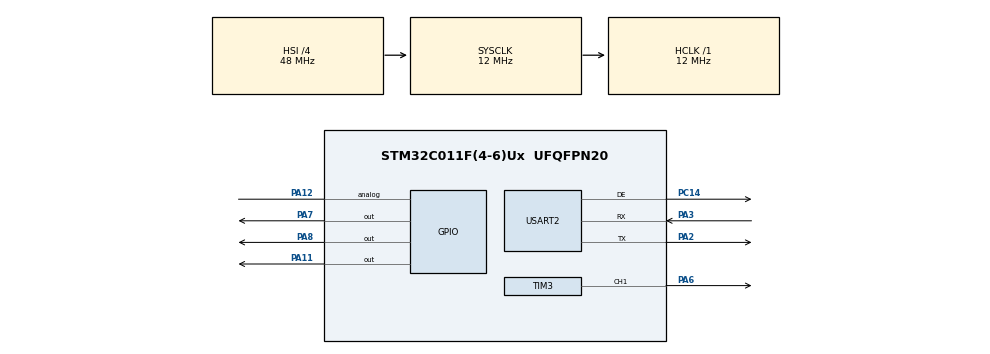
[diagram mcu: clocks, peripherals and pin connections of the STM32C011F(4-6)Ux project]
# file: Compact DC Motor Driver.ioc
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Mcu.Family=STM32C0
Mcu.Name=STM32C011F(4-6)Ux
Mcu.Package=UFQFPN20
NVIC.USART2_IRQn=true\:0\:0\:false\:false\:true\:true\:true\:true
PA11\ [PA9].Signal=GPIO_Output
PA12\ [PA10].Signal=GPIO_Analog
PA13.Mode=Serial_Wire
PA13.Signal=DEBUG_SWDIO
PA14-BOOT0.Mode=Serial_Wire
PA14-BOOT0.Signal=DEBUG_SWCLK
PA2.Mode=Asynchronous
PA2.Signal=USART2_TX
PA3.Mode=Asynchronous
PA3.Signal=USART2_RX
PA6.Signal=S_TIM3_CH1
PA7.GPIO_PuPd=GPIO_NOPULL
PA7.GPIO_Speed=GPIO_SPEED_FREQ_VERY_HIGH
PA7.PinState=GPIO_PIN_RESET
PA7.Signal=GPIO_Output
PA8.Signal=GPIO_Output
PC14-OSCX_IN\ (PC14).Mode=Hardware Flow Control (RS485)
PC14-OSCX_IN\ (PC14).Signal=USART2_DE
ProjectManager.HeapSize=0x200
ProjectManager.StackSize=0x400
ProjectManager.TargetToolchain=STM32CubeIDE
RCC.ADCFreq_Value=12000000
RCC.AHBFreq_Value=12000000
RCC.CortexFreq_Value=12000000
RCC.EXTERNAL_CLOCK_VALUE=12288000
RCC.HCLKFreq_Value=12000000
RCC.HSE_VALUE=8000000
RCC.HSI_VALUE=48000000
RCC.LSE_VALUE=32768
RCC.SYSCLKFreq_VALUE=12000000
SH.S_TIM3_CH1.0=TIM3_CH1,PWM Generation1 CH1
TIM3.AutoReloadPreload=TIM_AUTORELOAD_PRELOAD_ENABLE
TIM3.Channel-PWM\ Generation1\ CH1=TIM_CHANNEL_1
TIM3.Period=999
TIM3.Prescaler=79
USART2.VirtualMode-Asynchronous=VM_ASYNC
USART2.VirtualMode-Hardware\ Flow\ Control\ (RS485)=VM_ASYNC
VP_TIM3_VS_ClockSourceINT.Mode=Internal
board=custom

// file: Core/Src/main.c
/* USER CODE BEGIN Header */
/**
  ******************************************************************************
  * @file           : main.c
  * @brief          : Main program body
  ******************************************************************************
  * @attention
  *
  * Copyright (c) 2025 STMicroelectronics.
  * All rights reserved.
  *
  * This software is licensed under terms that can be found in the LICENSE file
  * in the root directory of this software component.
  * If no LICENSE file comes with this software, it is provided AS-IS.
  *
  ******************************************************************************
  */
/* USER CODE END Header */
#include "main.h"

/* USER CODE BEGIN Includes */
#include <stdio.h>
#include <stdlib.h>
/* USER CODE END Includes */

TIM_HandleTypeDef htim3;

UART_HandleTypeDef huart2;

/* USER CODE BEGIN PV */

#define FLASH_PERSIST_ADDR 0x08003C00  // Example: last 1 KB of 16 KB flash

typedef struct {
    uint32_t magic;      // optional, used to check if flash is initialized
    uint16_t address;
    uint16_t angleOpen;
    uint16_t angleClose;
    uint16_t Kp;
    uint16_t Kd;
    uint16_t errorTol;
    uint16_t errorTolChange;
    uint16_t extraVal;

} PersistentConfig;

#define MAGIC_VALUE 0xDEADBEEF

PersistentConfig config = {
    .magic = MAGIC_VALUE,
    .address = 99,
    .angleOpen = 1024,
    .angleClose = 2048,
    .Kp = 3,
    .Kd = 1000,
    .errorTol = 5,
    .errorTolChange = 1
};

#define IS_DIGIT(c) ((c) >= '0' && (c) <= '9')

//#define DEVICE_ADDRESS 12 // Between 12 - 23, 0-11 are reserved for on ECU servo connections

#define RX_BUFFER_SIZE 16
uint8_t rx_byte;
volatile uint8_t rx_buffer[RX_BUFFER_SIZE];
volatile uint8_t rx_buffer_index = 0;
volatile uint8_t command_buffer[RX_BUFFER_SIZE];
volatile uint8_t command_int = 0;

uint32_t last_toggle_time = 0;
char uart_buf[32];

volatile uint16_t targetAngle = 1000;
volatile int16_t target_hit = 1;

#define SCALE_PD 1000
//#define Kp (4 * SCALE_PD)
//#define Kd (500 * SCALE_PD)

int32_t rolling_delta_error = 0;
int8_t alpha = 80;
//#define Ki (0)

volatile uint8_t enabled = 1; // 1 = enabled, 0 = disabled, no power will be given to the motor

volatile uint8_t debug = 0; // 0 = normal, 1 = debug mode

uint32_t last_move_command = 0;
uint32_t ramp_up_time = 100;
uint16_t init_speed = 400;

/* USER CODE END PV */

void SystemClock_Config(void);
static void MX_GPIO_Init(void);
static void MX_TIM3_Init(void);
static void MX_USART2_UART_Init(void);

/* USER CODE BEGIN 0 */

// Called on each byte received
void HAL_UART_RxCpltCallback(UART_HandleTypeDef *huart)
{
//	HAL_GPIO_WritePin(GPIOA, GPIO_PIN_8, GPIO_PIN_SET);
//			HAL_UART_Transmit(&huart2, &rx_byte, 1, HAL_MAX_DELAY);
	//Running the code on USART1 only, (the raw uart line coming in), will need more logic when coming over RS485 bus
	if(huart->Instance == USART2){

		char c = (char)rx_byte;
//		if(c == '1'){
//			targetAngle = 3000;
//			target_hit = 0;
//		} else if (c == '0'){
//			targetAngle = 1000;
//			target_hit = 0;
//		}
//		HAL_GPIO_WritePin(GPIOA, GPIO_PIN_8, GPIO_PIN_SET);
//		HAL_UART_Transmit(&huart2, &rx_byte, 1, HAL_MAX_DELAY);
		if(c == '{'){
			rx_buffer_index = 1;
			rx_buffer[0] = rx_byte;
		} else if (c == '}'){
			//End of command, copy to command_buffer
			rx_buffer[rx_buffer_index] = rx_byte;

			for(int i = 0; i < RX_BUFFER_SIZE; i++){
				if(i <= rx_buffer_index){
					command_buffer[i] = rx_buffer[i];
				} else {
					command_buffer[i] = 0;
				}
			}

			if ((char)command_buffer[1] != '}' && (char)command_buffer[0] == '{' && (char)command_buffer[3] == ',') {
			    command_int = (command_buffer[4] - '0') * 10 + (command_buffer[5] - '0'); // now supports 2-digit commands
			} else {
			    command_int = 0;
			}

			rx_buffer_index = 0;
		} else {
			rx_buffer[rx_buffer_index] = rx_byte;
			rx_buffer_index++;

			// Start re-writing the buffer if we over-flow, note that this will fail to generate a
			// command_int due to the missing { at the start of the command
			if(rx_buffer_index >= RX_BUFFER_SIZE){
				rx_buffer_index = 0;
			}
		}

		// Restarting the interupt loop
		HAL_UART_Receive_IT(&huart2, &rx_byte, 1);
	}

}

// Minimal ADC1 initialization for STM32C0 series
void adc_init(void)
{
    RCC->APBENR2 |= RCC_APBENR2_ADCEN;  // enable ADC clock
    ADC1->CR &= ~ADC_CR_ADEN;           // ensure ADC is off
    ADC1->CFGR1 = 0;                    // single conversion, right-aligned
    ADC1->CHSELR = 0;                   // no channel selected yet
    ADC1->CR |= ADC_CR_ADEN;            // enable ADC
}

// --- Read ADC channel without HAL ADC_ConfigChannel overhead ---
uint16_t read_adc_channel(uint32_t channel)
{
    ADC1->CHSELR = 1U << channel;       // select PA12 = channel 4
    ADC1->CR |= ADC_CR_ADSTART;          // start conversion
    while (!(ADC1->ISR & ADC_ISR_EOC)); // wait for conversion complete
    return ADC1->DR;                     // read result
}

uint8_t parse_two_digit_decimal(char high, char low) {
    if (high < '0' || high > '9' || low < '0' || low > '9')
        return 0; // invalid

    return (high - '0') * 10 + (low - '0');
}

HAL_StatusTypeDef save_persistent_data(void) {
    HAL_StatusTypeDef status;
    FLASH_EraseInitTypeDef EraseInitStruct;
    uint32_t PageError = 0;

    HAL_FLASH_Unlock();

    // Configure erase for STM32C0 (2 KB pages)
    EraseInitStruct.TypeErase = FLASH_TYPEERASE_PAGES;
    EraseInitStruct.Page = (FLASH_PERSIST_ADDR - FLASH_BASE) / FLASH_PAGE_SIZE;
    EraseInitStruct.NbPages = 1;

    status = HAL_FLASHEx_Erase(&EraseInitStruct, &PageError);
    if (status != HAL_OK) {
        HAL_FLASH_Lock();
        return status;
    }

    // Write as 64-bit (double word)
    uint64_t *data_ptr = (uint64_t *)&config;
    uint32_t addr = FLASH_PERSIST_ADDR;
    uint32_t doublewords = (sizeof(PersistentConfig) + 7) / 8; // round up

    for (uint32_t i = 0; i < doublewords; i++) {
        status = HAL_FLASH_Program(FLASH_TYPEPROGRAM_DOUBLEWORD, addr, data_ptr[i]);
        if (status != HAL_OK) {
            HAL_FLASH_Lock();
            return status;
        }
        addr += 8; // must increment by 8 for double word
    }

    HAL_FLASH_Lock();
    return HAL_OK;
}

void load_persistent_data(void) {
    PersistentConfig *flash_data = (PersistentConfig *)FLASH_PERSIST_ADDR;

    if (flash_data->magic == MAGIC_VALUE) {
        // Flash has valid data
        memcpy(&config, flash_data, sizeof(PersistentConfig));
    } else {
        // First time boot or flash erased -> initialize defaults
    	config.magic = MAGIC_VALUE;
    	config.address = 99;
    	config.angleOpen = 1024;
    	config.angleClose = 2048;
    	config.Kp = 3;
    	config.Kd = 1000;
    	config.errorTol = 5;
    	config.errorTolChange = 1;

        // Save to flash so next boot reads these values
        save_persistent_data();
    }
}

int parse_4digit_value(uint8_t *buf, uint16_t *out) {
    for (int i = 0; i < 4; i++) {
        if (buf[i] < '0' || buf[i] > '9') {
            return 0; // invalid
        }
    }
    *out = (buf[0]-'0')*1000 + (buf[1]-'0')*100 + (buf[2]-'0')*10 + (buf[3]-'0');
    return 1; // success
}

// Updates a config value and only saves to flash if changed
HAL_StatusTypeDef update_config_if_changed(uint16_t *field, uint16_t new_value) {
    if (*field != new_value) {
        *field = new_value;
        return save_persistent_data();
    }
    return HAL_OK; // no change, no flash write
}

uint8_t validate_command(uint8_t *buf, uint8_t command_int) {
    // Ensure start '{' and minimal length
    if(buf[0] != '{') return 0;

    // Validate address: 2 digits
    if(!IS_DIGIT(buf[1]) || !IS_DIGIT(buf[2])) return 0;

    uint8_t addr = parse_two_digit_decimal(buf[1], buf[2]);
    if(addr != config.address) return 0; // Not for this device

    // For commands 21-28, ensure 4-digit value exists
    if(command_int >= 21 && command_int <= 28) {
        for(int i=7; i<=10; i++) {
            if(!IS_DIGIT(buf[i])) return 0;
        }
    }

    return 1; // valid
}

/* USER CODE END 0 */

int main(void)
{

  /* MCU Configuration--------------------------------------------------------*/

  /* Reset of all peripherals, Initializes the Flash interface and the Systick. */
  HAL_Init();

  /* Configure the system clock */
  SystemClock_Config();

  /* Initialize all configured peripherals */
  MX_GPIO_Init();
  MX_TIM3_Init();
  MX_USART2_UART_Init();
  /* USER CODE BEGIN 2 */

  load_persistent_data();

  adc_init();

  // Start UART reception in interrupt mode (1 byte at a time)
  // This gets restarted in the interup function
  HAL_UART_Receive_IT(&huart2, &rx_byte, 1);

  HAL_GPIO_WritePin(GPIOA, GPIO_PIN_6, GPIO_PIN_RESET);
  HAL_GPIO_WritePin(GPIOA, GPIO_PIN_7, GPIO_PIN_RESET);

  uint32_t last_print = 0;
  //uint16_t last_dir_change = 0;
  int16_t last_error = 0;
//  int32_t error_integral = 0;

  HAL_TIM_PWM_Start(&htim3, TIM_CHANNEL_1);

  __HAL_TIM_SET_COMPARE(&htim3, TIM_CHANNEL_1, 999);

//  HAL_TIM_PWM_Start(&htim3, TIM_CHANNEL_1);
//  __HAL_TIM_SET_COMPARE(&htim3, TIM_CHANNEL_1, 500);

  /* USER CODE END 2 */

  /* Infinite loop */
  /* USER CODE BEGIN WHILE */
  HAL_GPIO_WritePin(GPIOA, GPIO_PIN_8, GPIO_PIN_RESET);
  while (1) {

	  // Reading the pot value, outputs 0-4096 mapping 0-3.3v, there is slight deadband between 0-150 ish
	  	      uint16_t adc_value = read_adc_channel(12);

	  	  if(command_int != 0){
    uint8_t valid = validate_command(command_buffer, command_int);

    if(!valid){
        //HAL_UART_Transmit(&huart2, (uint8_t*)"BAD_CMD\r\n", 9, HAL_MAX_DELAY);
        command_int = 0;
        continue;
    }

    uint16_t command_value = 0;
    if(command_int >= 21 && command_int <= 28){
        command_value = (command_buffer[7]-'0')*1000 +
                        (command_buffer[8]-'0')*100 +
                        (command_buffer[9]-'0')*10 +
                        (command_buffer[10]-'0');
    }

    switch(command_int){
        case 1: targetAngle = config.angleOpen; target_hit = 0; last_move_command = HAL_GetTick(); break;
        case 2: targetAngle = config.angleClose; target_hit = 0; last_move_command = HAL_GetTick(); break;
        case 21: update_config_if_changed(&config.angleOpen, command_value); break;
        case 22: update_config_if_changed(&config.angleClose, command_value); break;
        case 23: update_config_if_changed(&config.Kp, command_value); break;
        case 24: update_config_if_changed(&config.Kd, command_value); break;
        case 25: update_config_if_changed(&config.errorTol, command_value); break;
        case 26: update_config_if_changed(&config.errorTolChange, command_value); break;
        case 27: update_config_if_changed(&config.extraVal, command_value); break;
        case 28: update_config_if_changed(&config.address, command_value); break;
        case 29: debug = 1; break;
        case 30: debug = 0; break;

        case 31: {
            uint16_t vals[] = { config.address, config.angleOpen, config.angleClose,
                                config.Kp, config.Kd, config.errorTol,
                                config.errorTolChange, config.extraVal, enabled };
            for(int i=0;i<8;i++){
                char buf[6];
                int pos=0;
                uint16_t val=vals[i];
                if(val==0) buf[pos++]='0';
                else {
                    char temp[5]; int tpos=0;
                    while(val>0){ temp[tpos++]= '0'+(val%10); val/=10; }
                    for(int j=tpos-1;j>=0;j--) buf[pos++]=temp[j];
                }
                buf[pos++]=','; HAL_UART_Transmit(&huart2,(uint8_t*)buf,pos,HAL_MAX_DELAY);
            }
            HAL_UART_Transmit(&huart2,(uint8_t*)"\r\n",2,HAL_MAX_DELAY);
            break;
        }

        case 32:  // Report valve position
        {
            // Convert currentAngle (adc_value) into a 0–100% range between closed and open
            int32_t range = (int32_t)config.angleOpen - (int32_t)config.angleClose;
            int32_t offset = (int32_t)adc_value - (int32_t)config.angleClose;

            int32_t percent = 0;
            if (range != 0)
                percent = (offset * 100) / range;  // 0 = fully closed, 100 = fully open

            // Map it to 50–150 (clamped 0–200)
            int32_t output_val = percent + 50;
            if (output_val < 0) output_val = 0;
            if (output_val > 200) output_val = 200;

            // Manual UART formatting (no sprintf)
            char msg[20];
            uint8_t len = 0;

            msg[len++] = '{';
            msg[len++] = 'v';
            msg[len++] = ',';

            // Add 2-digit device address
            uint8_t addr = config.address;
            msg[len++] = '0' + (addr / 10);
            msg[len++] = '0' + (addr % 10);
            msg[len++] = ',';

            // Add 3-digit output_val
            int val = output_val;
            msg[len++] = '0' + ((val / 100) % 10);
            msg[len++] = '0' + ((val / 10) % 10);
            msg[len++] = '0' + (val % 10);

            msg[len++] = '}';
            msg[len++] = '\r';
            msg[len++] = '\n';

            HAL_UART_Transmit(&huart2, (uint8_t*)msg, len, 50);
            break;
        }
        case 40: enabled = 0; break;
        case 41: enabled = 1; break;

        default:
            //HAL_UART_Transmit(&huart2, (uint8_t*)"BAD_CMD\r\n", 9, HAL_MAX_DELAY);
            break;
    }

    command_int = 0; // reset command
}

	      // Calculating the error from desired angle
	      int16_t error = adc_value - targetAngle;

	      // Speed tracking variable to be set. Scaled up by SCALE_PD to take advantage of integer math on PD loop, that's why it's int32_t
	      int32_t speed = 0;

	      //Updating error rolling average
	      //rolling_delta_error = (rolling_delta_error * alpha + (error - last_error) * 1000 * (100 - alpha)) / 100;

	      static uint32_t last_deriv_tick = 0;
	      uint32_t tick = HAL_GetTick();
	      if(tick - last_deriv_tick > 5){ // compute derivative every 5 ms
	          int32_t delta = (int32_t)(error - last_error);
	          rolling_delta_error = (rolling_delta_error * (100 - alpha) + delta * alpha) / 100;
	          last_deriv_tick = tick;
	          last_error = error;
	      }

	      // Only running the control loop if we determined we havne't hit the target
	      if (target_hit == 0) {

	    	  // If the error is larger than 1000 (~90 degrees) we want to go at full speed
	    	  if (abs(error) > 1000){
	    		  // Making sure the dirs are correct, and scaling up the max speed (1000) by the scale factor
	    		  if (adc_value < targetAngle){
	    			  speed = -1000 * SCALE_PD;
	    		  } else  if (adc_value > targetAngle){
	    			  speed = 1000 * SCALE_PD;
	    		  }
	    	  } else {

	    		  // Porportional contribution
	    		  speed += (error)* config.Kp * SCALE_PD;

	    		  // Derivative portion
	    		  speed += rolling_delta_error * config.Kd * SCALE_PD / 1000;

	    		  //error_integral += error;
	    		  //speed += error_integral * Ki;
	    	  }
	      }

	      speed = speed / SCALE_PD;

	      // Mapping to +/- 400 to 1000 range
	      if(speed > 0) speed = speed * 5 / 10 + 500;
	      if(speed < 0) speed = speed * 5 / 10 - 500;

	      // Clamping into +/- 999 range
	      if(speed < -999){
	    	  speed = -999;
	      } else if (speed > 999){
	    	  speed = 999;
	      }

	      // Target hit
	      if (abs(error) < config.errorTol && rolling_delta_error * 10 < config.errorTolChange){
	    	  target_hit = 1;
	    	  speed = 0;
	      }

	      if(!enabled){
	    	  speed = 0;
	      }

	      if(speed > 0){
	    	  HAL_GPIO_WritePin(GPIOA, GPIO_PIN_8, GPIO_PIN_RESET);
	    	  HAL_GPIO_WritePin(GPIOA, GPIO_PIN_7, GPIO_PIN_SET);
	      } else if (speed < 0){
	    	  HAL_GPIO_WritePin(GPIOA, GPIO_PIN_8, GPIO_PIN_SET);
	    	  HAL_GPIO_WritePin(GPIOA, GPIO_PIN_7, GPIO_PIN_RESET);
	      } else {
	    	  HAL_GPIO_WritePin(GPIOA, GPIO_PIN_8, GPIO_PIN_RESET);
	    	  HAL_GPIO_WritePin(GPIOA, GPIO_PIN_7, GPIO_PIN_RESET);
	      }

	      uint16_t pwm_out = abs(speed);

	      uint32_t dt = tick - last_move_command;

	      // Ramp only applies shortly after a move command
	      if (dt < ramp_up_time) {

	          // Linear ramp: init_speed -> pwm_out
	          if (pwm_out > init_speed) {
	              pwm_out = init_speed +
	                        ((pwm_out - init_speed) * dt) / ramp_up_time;
	          }
	      }

	      __HAL_TIM_SET_COMPARE(&htim3, TIM_CHANNEL_1, abs(pwm_out));

//	      if(abs(rolling_delta_error) < 1 && abs(speed) > 500){
//	    	  HAL_GPIO_WritePin(GPIOA, GPIO_PIN_8, GPIO_PIN_RESET);
//	    	  HAL_GPIO_WritePin(GPIOA, GPIO_PIN_7, GPIO_PIN_RESET);
//	    	  HAL_Delay(1);
//	      }

	          // --- Convert number to string and send ---
	      // --- Manual UART print without snprintf ---
	      if(HAL_GetTick() - last_print > 20 && debug){
	          last_print = HAL_GetTick();

	          int32_t values[4] = { adc_value, targetAngle, pwm_out, rolling_delta_error * 10 };

	          for(int v = 0; v < 4; v++){
	              int32_t val = values[v];
	              char buf[12]; // enough for -2147483648
	              int i = 0;
	              int is_negative = 0;

	              if(val < 0){
	                  is_negative = 1;
	                  val = -val;
	              }

	              if(val == 0){
	                  buf[i++] = '0';
	              }

	              while(val > 0){
	                  buf[i++] = '0' + (val % 10);
	                  val /= 10;
	              }

	              if(is_negative){
	                  buf[i++] = '-';
	              }

	              // Send digits in correct order
	              for(int j = i-1; j >= 0; j--){
	                  HAL_UART_Transmit(&huart2, (uint8_t*)&buf[j], 1, HAL_MAX_DELAY);
	              }

	              // Add comma + space if not last value
	              if(v < 3){
	                  HAL_UART_Transmit(&huart2, (uint8_t*)", ", 2, HAL_MAX_DELAY);
	              }
	          }

	          // Send newline
	          HAL_UART_Transmit(&huart2, (uint8_t*)"\r\n", 2, HAL_MAX_DELAY);
	      }
    /* USER CODE END WHILE */

  }
}

void SystemClock_Config(void)
{
  RCC_OscInitTypeDef RCC_OscInitStruct = {0};
  RCC_ClkInitTypeDef RCC_ClkInitStruct = {0};

  __HAL_FLASH_SET_LATENCY(FLASH_LATENCY_0);

  /** Initializes the RCC Oscillators according to the specified parameters
  * in the RCC_OscInitTypeDef structure.
  */
  RCC_OscInitStruct.OscillatorType = RCC_OSCILLATORTYPE_HSI;
  RCC_OscInitStruct.HSIState = RCC_HSI_ON;
  RCC_OscInitStruct.HSIDiv = RCC_HSI_DIV4;
  RCC_OscInitStruct.HSICalibrationValue = RCC_HSICALIBRATION_DEFAULT;
  if (HAL_RCC_OscConfig(&RCC_OscInitStruct) != HAL_OK)
  {
    Error_Handler();
  }

  /** Initializes the CPU, AHB and APB buses clocks
  */
  RCC_ClkInitStruct.ClockType = RCC_CLOCKTYPE_HCLK|RCC_CLOCKTYPE_SYSCLK
                              |RCC_CLOCKTYPE_PCLK1;
  RCC_ClkInitStruct.SYSCLKSource = RCC_SYSCLKSOURCE_HSI;
  RCC_ClkInitStruct.SYSCLKDivider = RCC_SYSCLK_DIV1;
  RCC_ClkInitStruct.AHBCLKDivider = RCC_HCLK_DIV1;
  RCC_ClkInitStruct.APB1CLKDivider = RCC_APB1_DIV1;

  if (HAL_RCC_ClockConfig(&RCC_ClkInitStruct, FLASH_LATENCY_0) != HAL_OK)
  {
    Error_Handler();
  }
}

static void MX_TIM3_Init(void)
{

  TIM_ClockConfigTypeDef sClockSourceConfig = {0};
  TIM_MasterConfigTypeDef sMasterConfig = {0};
  TIM_OC_InitTypeDef sConfigOC = {0};

  htim3.Instance = TIM3;
  htim3.Init.Prescaler = 79;
  htim3.Init.CounterMode = TIM_COUNTERMODE_UP;
  htim3.Init.Period = 999;
  htim3.Init.ClockDivision = TIM_CLOCKDIVISION_DIV1;
  htim3.Init.AutoReloadPreload = TIM_AUTORELOAD_PRELOAD_ENABLE;
  if (HAL_TIM_Base_Init(&htim3) != HAL_OK)
  {
    Error_Handler();
  }
  sClockSourceConfig.ClockSource = TIM_CLOCKSOURCE_INTERNAL;
  if (HAL_TIM_ConfigClockSource(&htim3, &sClockSourceConfig) != HAL_OK)
  {
    Error_Handler();
  }
  if (HAL_TIM_PWM_Init(&htim3) != HAL_OK)
  {
    Error_Handler();
  }
  sMasterConfig.MasterOutputTrigger = TIM_TRGO_RESET;
  sMasterConfig.MasterSlaveMode = TIM_MASTERSLAVEMODE_DISABLE;
  if (HAL_TIMEx_MasterConfigSynchronization(&htim3, &sMasterConfig) != HAL_OK)
  {
    Error_Handler();
  }
  sConfigOC.OCMode = TIM_OCMODE_PWM1;
  sConfigOC.Pulse = 0;
  sConfigOC.OCPolarity = TIM_OCPOLARITY_HIGH;
  sConfigOC.OCFastMode = TIM_OCFAST_DISABLE;
  if (HAL_TIM_PWM_ConfigChannel(&htim3, &sConfigOC, TIM_CHANNEL_1) != HAL_OK)
  {
    Error_Handler();
  }
  HAL_TIM_MspPostInit(&htim3);

}

static void MX_USART2_UART_Init(void)
{

  huart2.Instance = USART2;
  huart2.Init.BaudRate = 115200;
  huart2.Init.WordLength = UART_WORDLENGTH_8B;
  huart2.Init.StopBits = UART_STOPBITS_1;
  huart2.Init.Parity = UART_PARITY_NONE;
  huart2.Init.Mode = UART_MODE_TX_RX;
  huart2.Init.HwFlowCtl = UART_HWCONTROL_NONE;
  huart2.Init.OverSampling = UART_OVERSAMPLING_16;
  huart2.Init.OneBitSampling = UART_ONE_BIT_SAMPLE_DISABLE;
  huart2.Init.ClockPrescaler = UART_PRESCALER_DIV1;
  huart2.AdvancedInit.AdvFeatureInit = UART_ADVFEATURE_NO_INIT;
  if (HAL_RS485Ex_Init(&huart2, UART_DE_POLARITY_HIGH, 0, 0) != HAL_OK)
  {
    Error_Handler();
  }
  /* USER CODE BEGIN USART2_Init 2 */

  HAL_NVIC_SetPriority(USART2_IRQn, 0, 0);
  HAL_NVIC_EnableIRQ(USART2_IRQn);

  /* USER CODE END USART2_Init 2 */

}

static void MX_GPIO_Init(void)
{
  GPIO_InitTypeDef GPIO_InitStruct = {0};

  /* GPIO Ports Clock Enable */
  __HAL_RCC_GPIOA_CLK_ENABLE();
  __HAL_RCC_GPIOC_CLK_ENABLE();

  /*Configure GPIO pin Output Level */
  HAL_GPIO_WritePin(GPIOA, GPIO_PIN_7|GPIO_PIN_8|GPIO_PIN_11, GPIO_PIN_RESET);

  /*Configure GPIO pin : PA7 */
  GPIO_InitStruct.Pin = GPIO_PIN_7;
  GPIO_InitStruct.Mode = GPIO_MODE_OUTPUT_PP;
  GPIO_InitStruct.Pull = GPIO_NOPULL;
  GPIO_InitStruct.Speed = GPIO_SPEED_FREQ_VERY_HIGH;
  HAL_GPIO_Init(GPIOA, &GPIO_InitStruct);

  /*Configure GPIO pins : PA8 PA11 */
  GPIO_InitStruct.Pin = GPIO_PIN_8|GPIO_PIN_11;
  GPIO_InitStruct.Mode = GPIO_MODE_OUTPUT_PP;
  GPIO_InitStruct.Pull = GPIO_NOPULL;
  GPIO_InitStruct.Speed = GPIO_SPEED_FREQ_LOW;
  HAL_GPIO_Init(GPIOA, &GPIO_InitStruct);

  /*Configure GPIO pin : PA12 */
  GPIO_InitStruct.Pin = GPIO_PIN_12;
  GPIO_InitStruct.Mode = GPIO_MODE_ANALOG;
  GPIO_InitStruct.Pull = GPIO_NOPULL;
  HAL_GPIO_Init(GPIOA, &GPIO_InitStruct);

}

void Error_Handler(void)
{
  __disable_irq();
  while (1)
  {
  }
}
